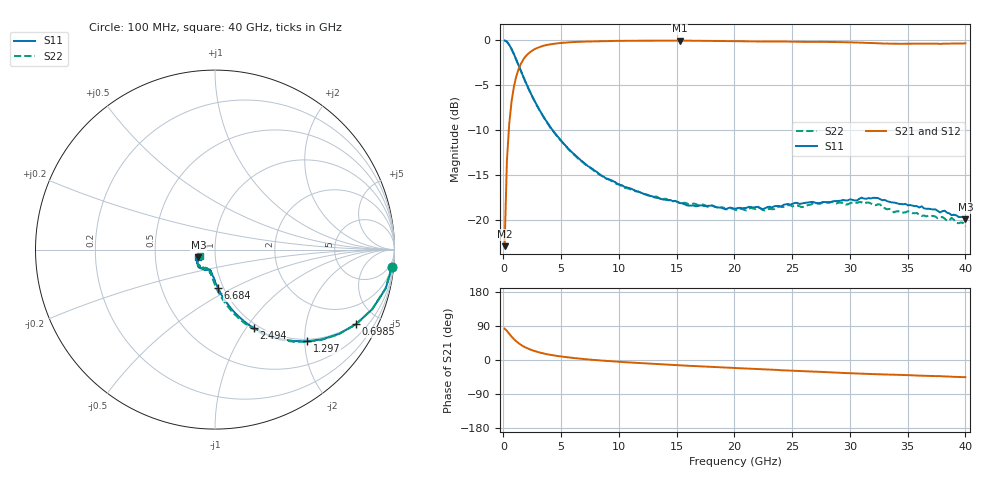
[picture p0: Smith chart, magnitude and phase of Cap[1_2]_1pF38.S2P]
!  2-Port S-parameters saved by WinCal
! VAR NAME=Cap[1_2]_1pF38
! VAR FILENAME=Cap[1_2]_1pF38.S2P
! VAR DATE=2/4/2010 3:22:18 PM
! VAR PHYS_PORTS=1,2
! VAR ObjTypeName=DATASET
! VAR IndexType=Frequencyasd
# Hz S MA R 50
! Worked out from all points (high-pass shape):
!   201 points, 100 MHz to 40 GHz, reference 50 ohm
!   highest |S21| = -0.09 dB at 15.26 GHz (marker M1); lowest = -22.8 dB at 100 MHz (marker M2)
!   |S21| within 3 dB of the highest: 1.365 GHz to end of sweep
!   lowest |S11| = -19.9 dB at 40 GHz (marker M3), VSWR 1.23, Z = 41.4 - j3.44 ohm
!   |S11| at or under -10 dB: 4.252 GHz to end of sweep
!   |S22| runs from -20.7 to -0.1 dB; largest |S21 - S12| = 0.032
!   S11 on the Smith chart (normalised r, x): 100 MHz: 2, -20; 698.5 MHz: 0.96, -3.81; 1.297 GHz: 0.95, -2.06; 2.494 GHz: 0.95, -1.08; 6.684 GHz: 0.94, -0.42; 40 GHz: 0.83, -0.07
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1e8  0.9906 -5.7  0.07206 82.7  0.07343 85.4  0.9889 -5.5
2.995e8  0.9755 -12.7  0.2138 77.0  0.2141 77.1  0.9745 -12.9
4.99e8  0.9377 -20.6  0.3416 69.1  0.3424 69.1  0.9357 -20.9
6.985e8  0.8892 -27.8  0.4532 61.8  0.4539 61.9  0.8874 -28.1
8.98e8  0.835 -34.2  0.5468 55.4  0.5469 55.4  0.833 -34.6
1.297e9  0.7257 -44.8  0.6839 44.7  0.6844 44.7  0.7234 -45.3
1.8955e9  0.5874 -56.0  0.8052 33.4  0.8055 33.4  0.5858 -56.8
2.494e9  0.4857 -63.7  0.8707 25.7  0.8715 25.7  0.4844 -64.7
3.292e9  0.3916 -70.8  0.9186 18.6  0.9188 18.5  0.39 -72.1
4.09e9  0.3264 -75.8  0.944 13.5  0.9437 13.5  0.324 -77.3
6.6835e9  0.2157 -85.5  0.9748 3.4  0.9759 3.1  0.2142 -87.8
6.883e9  0.2108 -86.0  0.9757 2.7  0.9768 2.7  0.2095 -88.4
1.0474e10  0.1534 -93.1  0.9866 -5.6  0.9843 -5.8  0.1516 -96.2
1.34665e10  0.1329 -97.9  0.987 -10.9  0.9862 -11.2  0.1332 -100.7
1.5262e10  0.1248 -101.0  0.9892 -13.9  0.9839 -14.0  0.1251 -104.3
2.005e10  0.1163 -106.9  0.9809 -21.2  0.9796 -21.7  0.1145 -112.7
2.6833e10  0.1266 -119.7  0.9719 -30.5  0.9698 -30.4  0.1246 -124.5
3.1621e10  0.1329 -132.4  0.96 -36.7  0.9565 -37.4  0.1256 -139.3
3.34165e10  0.1269 -140.0  0.951 -38.6  0.9498 -39.5  0.1159 -144.3
3.8404e10  0.1104 -154.4  0.9523 -43.6  0.9476 -44.7  0.09954 -154.4
3.8803e10  0.1069 -154.1  0.9519 -44.1  0.9469 -45.2  0.1032 -156.0
4e10  0.1016 -156.1  0.9548 -45.3  0.9503 -46.6  0.09265 -156.3
